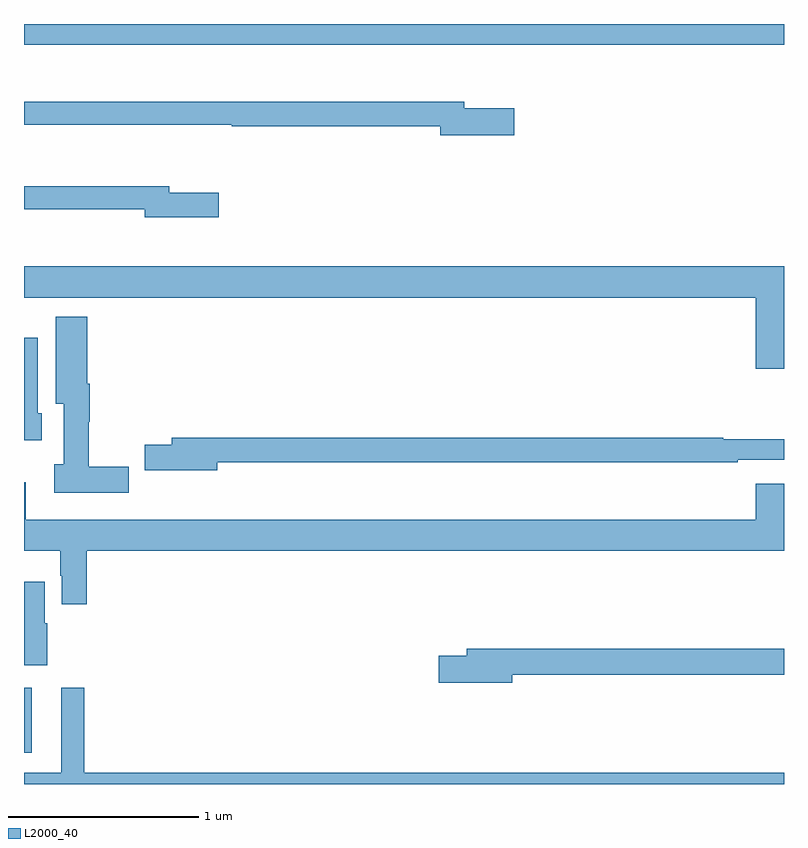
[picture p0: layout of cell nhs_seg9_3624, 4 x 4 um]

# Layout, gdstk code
import gdstk
lib = gdstk.Library(unit=1e-6, precision=1e-09)
def R(c, l, rs):  # rectangles x0, y0, x1, y1
    for r in rs: c.add(gdstk.rectangle(r[:2], r[2:], *l))
def P(c, l, *ps):  # polygons
    for p in ps: c.add(gdstk.Polygon(p, *l))
L2000_40 = (2000, 40)

nhs_seg9_3624 = lib.new_cell('nhs_seg9_3624')
R(nhs_seg9_3624, L2000_40, [(317,1220.664,317.041,1221.007), (317,1224.392,321,1224.5)])
P(nhs_seg9_3624, L2000_40, [(319.579,1224.057),(319.318,1224.057),(319.318,1224.091),(317,1224.091),(317,1223.97),(318.094,1223.97),(318.094,1223.962),(319.19,1223.962),(319.19,1223.915),(319.579,1223.915)],
  [(318.025,1223.613),(317.764,1223.613),(317.764,1223.647),(317,1223.647),(317,1223.526),(317.636,1223.526),(317.636,1223.483),(318.025,1223.483)],
  [(321,1223.224),(317,1223.224),(317,1223.06),(320.852,1223.06),(320.852,1222.686),(321,1222.686)],
  [(317.55,1222.169),(317.34,1222.169),(317.34,1222.406),(317.345,1222.406),(317.345,1222.606),(317.332,1222.606),(317.332,1222.96),(317.168,1222.96),(317.168,1222.502),(317.21,1222.502),(317.21,1222.182),(317.16,1222.182),(317.16,1222.034),(317.55,1222.034)],
  [(317.094,1222.452),(317.073,1222.452),(317.073,1222.848),(317,1222.848),(317,1222.308),(317.094,1222.308)],
  [(318.016,1222.194),(320.756,1222.194),(320.756,1222.206),(321,1222.206),(321,1222.315),(320.681,1222.315),(320.681,1222.322),(317.777,1222.322),(317.777,1222.286),(317.635,1222.286),(317.635,1222.151),(318.016,1222.151)],
  [(317.33,1221.728),(321,1221.728),(321,1222.081),(320.852,1222.081),(320.852,1221.892),(317.008,1221.892),(317.008,1222.087),(317,1222.087),(317,1221.728),(317.191,1221.728),(317.191,1221.596),(317.198,1221.596),(317.198,1221.447),(317.33,1221.447)],
  [(317.123,1221.347),(317.11,1221.347),(317.11,1221.565),(317,1221.565),(317,1221.126),(317.123,1221.126)],
  [(319.57,1221.076),(321,1221.076),(321,1221.212),(319.331,1221.212),(319.331,1221.176),(319.182,1221.176),(319.182,1221.034),(319.57,1221.034)],
  [(321,1220.56),(317.317,1220.56),(317.317,1221.007),(317.195,1221.007),(317.195,1220.56),(317,1220.56),(317,1220.5),(321,1220.5)])

lib.write_gds('nhs_seg9_3624.gds')
